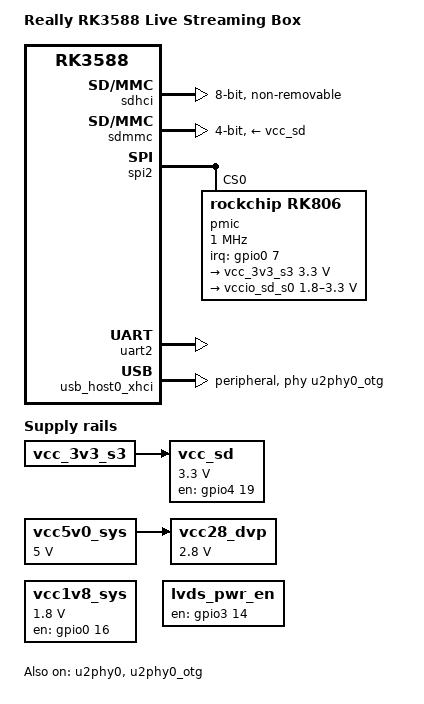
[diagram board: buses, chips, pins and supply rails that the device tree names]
// SPDX-License-Identifier: (GPL-2.0+ OR MIT)
/*
 * Minimal U-Boot device tree for the Really/TVI2340R RK3588 board.
 *
 * U-Boot only needs stable console, eMMC and SD access here.  Linux device
 * setup (panel, audio, HDMI input, cameras) remains in the kernel DTS.
 */

/dts-v1/;
#include "rk3588.dtsi"

/ {
	model = "Really RK3588 Live Streaming Box";
	compatible = "rockchip,rk3588-tvi2340r", "rockchip,rk3588";

	/*
	 * Rails that must be up before U-Boot hands over to Linux.
	 *
	 * vcc28_dvp (AVDD28) and vcc1v8_sys (VDDIO) feed the GT9110 touch
	 * controller at I2C4 0x14 and the HYM8563 RTC at 0x51.  Linux probes
	 * those before the rails have settled, so both NAK and the kernel needs
	 * a userspace rebind to recover them.  vcc5v0_sys is their upstream
	 * supply; lvds_pwr_en powers the LT9211 LVDS path.
	 *
	 * Declaring the nodes here is not enough on its own: nothing in U-Boot
	 * probes a regulator-fixed device, so the enable GPIOs would stay low
	 * for the whole boot.  board_init() drives them explicitly through
	 * regulator_autoset_by_name().
	 *
	 * GPIO offsets are raw bank-pin numbers because this file does not
	 * include the pinctrl dt-bindings header: 16 = GPIO0_C0,
	 * 14 = GPIO3_B6.  This matches the vcc_sd node below.
	 */
	vcc5v0_sys: regulator-vcc5v0-sys {
		compatible = "regulator-fixed";
		regulator-name = "vcc5v0_sys";
		regulator-min-microvolt = <5000000>;
		regulator-max-microvolt = <5000000>;
		regulator-always-on;
		regulator-boot-on;
	};

	vcc28_dvp: regulator-vcc28-dvp {
		compatible = "regulator-fixed";
		regulator-name = "vcc28_dvp";
		regulator-min-microvolt = <2800000>;
		regulator-max-microvolt = <2800000>;
		regulator-always-on;
		regulator-boot-on;
		vin-supply = <&vcc5v0_sys>;
	};

	vcc1v8_sys: regulator-vcc1v8-sys {
		compatible = "regulator-fixed";
		enable-active-high;
		gpio = <&gpio0 16 0>;
		pinctrl-names = "default";
		pinctrl-0 = <&really_vcc1v8_sys_en>;
		regulator-name = "vcc1v8_sys";
		regulator-min-microvolt = <1800000>;
		regulator-max-microvolt = <1800000>;
		regulator-always-on;
		regulator-boot-on;
	};

	lvds_pwr_en: regulator-lvds-pwr-en {
		compatible = "regulator-fixed";
		enable-active-high;
		gpio = <&gpio3 14 0>;
		pinctrl-names = "default";
		pinctrl-0 = <&really_lvds_pwren>;
		regulator-name = "lvds_pwr_en";
		regulator-always-on;
		regulator-boot-on;
	};

	vcc_sd: regulator-vcc-sd {
		compatible = "regulator-fixed";
		regulator-name = "vcc_sd";
		regulator-min-microvolt = <3300000>;
		regulator-max-microvolt = <3300000>;
		gpio = <&gpio4 19 0>;
		pinctrl-names = "default";
		pinctrl-0 = <&really_sdmmc_pwr>;
		enable-active-high;
		startup-delay-us = <100000>;
		vin-supply = <&vcc_3v3_s3>;
		regulator-always-on;
	};

	aliases {
		mmc0 = &sdhci;
		mmc1 = &sdmmc;
		serial2 = &uart2;
	};

	chosen {
		stdout-path = "serial2:1500000n8";
	};
};

&pinctrl {
	really_sdmmc_pwr: sdmmc-pwr {
		rockchip,pins = <4 19 0 &pcfg_pull_none>;
	};

	really_vcc1v8_sys_en: vcc1v8-sys-en {
		rockchip,pins = <0 16 0 &pcfg_pull_up>;
	};

	really_lvds_pwren: lvds-pwren {
		rockchip,pins = <3 14 0 &pcfg_pull_none>;
	};
};

&sdhci {
	bus-width = <8>;
	cap-mmc-highspeed;
	mmc-hs200-1_8v;
	no-sd;
	no-sdio;
	non-removable;
	status = "okay";
};

&sdmmc {
	bus-width = <4>;
	cap-mmc-highspeed;
	cap-sd-highspeed;
	disable-wp;
	no-mmc;
	no-sdio;
	sd-uhs-sdr104;
	supports-sd;
	status = "okay";
	vmmc-supply = <&vcc_sd>;
	vqmmc-supply = <&vccio_sd_s0>;
};

&spi2 {
	status = "okay";
	assigned-clocks = <&cru CLK_SPI2>;
	assigned-clock-rates = <200000000>;
	num-cs = <1>;
	pinctrl-names = "default";
	pinctrl-0 = <&spi2m2_pins>, <&spi2m2_cs0>;

	pmic@0 {
		compatible = "rockchip,rk806";
		reg = <0x0>;
		spi-max-frequency = <1000000>;
		interrupt-parent = <&gpio0>;
		interrupts = <7 8>;
		pinctrl-names = "default";
		pinctrl-0 = <&pmic_pins>, <&rk806_dvs1_null>,
			    <&rk806_dvs2_null>, <&rk806_dvs3_null>;
		system-power-controller;
		gpio-controller;
		#gpio-cells = <2>;

		rk806_dvs1_null: dvs1-null-pins {
			pins = "gpio_pwrctrl1";
			function = "pin_fun0";
		};

		rk806_dvs2_null: dvs2-null-pins {
			pins = "gpio_pwrctrl2";
			function = "pin_fun0";
		};

		rk806_dvs3_null: dvs3-null-pins {
			pins = "gpio_pwrctrl3";
			function = "pin_fun0";
		};

		regulators {
			vcc_3v3_s3: dcdc-reg8 {
				regulator-always-on;
				regulator-boot-on;
				regulator-min-microvolt = <3300000>;
				regulator-max-microvolt = <3300000>;
				regulator-ramp-delay = <12500>;
				regulator-name = "vcc_3v3_s3";
			};

			vccio_sd_s0: pldo-reg5 {
				regulator-always-on;
				regulator-boot-on;
				regulator-init-microvolt = <3300000>;
				regulator-min-microvolt = <1800000>;
				regulator-max-microvolt = <3300000>;
				regulator-ramp-delay = <12500>;
				regulator-name = "vccio_sd_s0";
			};
		};
	};
};

&uart2 {
	pinctrl-0 = <&uart2m0_xfer>;
	status = "okay";
};

&u2phy0 {
	status = "okay";
};

&u2phy0_otg {
	status = "okay";
};

&usb_host0_xhci {
	dr_mode = "peripheral";
	maximum-speed = "high-speed";
	phys = <&u2phy0_otg>;
	phy-names = "usb2-phy";
	status = "okay";
};
